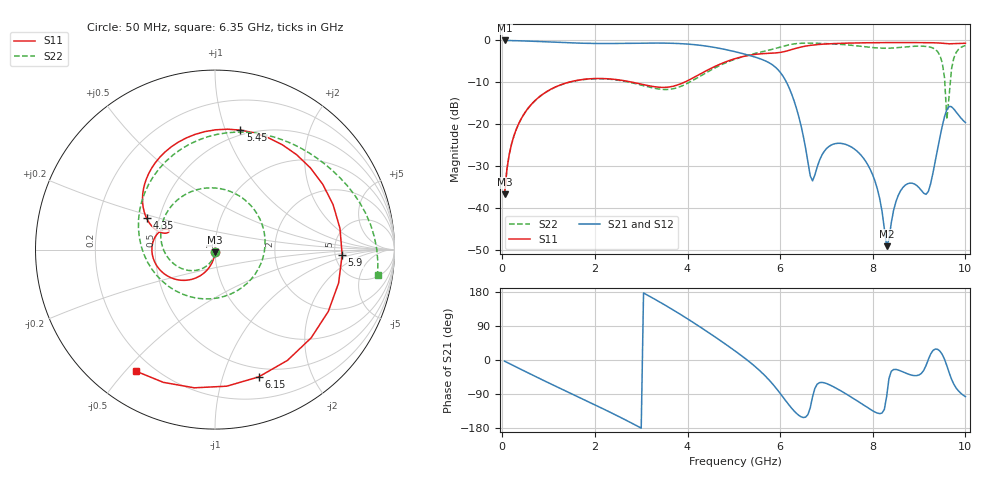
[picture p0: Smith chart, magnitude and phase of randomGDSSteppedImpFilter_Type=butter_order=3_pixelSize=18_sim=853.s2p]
! freq	dB(S11)	phase(S11)	dB(S12)	phase(S12)
!  dB(S21)	phase(S21)	dB(S22)	phase(S22)
!S-par simulation data
#  GHz  S  DB  R 50
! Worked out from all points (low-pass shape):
!   200 points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, 50 MHz to 10 GHz, reference 50 ohm
!   highest |S21| = 0.00 dB at 50 MHz (marker M1); lowest = -49.1 dB at 8.3 GHz (marker M2)
!   |S21| within 3 dB of the highest: start of sweep to 5.142 GHz
!   lowest |S11| = -36.7 dB at 50 MHz (marker M3), VSWR 1.03, Z = 49.9 - j1.46 ohm
!   |S11| at or under -10 dB: start of sweep to 1.429 GHz; 2.818 GHz to 3.928 GHz (1.11 GHz wide, 32.9 % of centre)
!   |S22| runs from -36.7 to -0.6 dB; largest |S21 - S12| = 0
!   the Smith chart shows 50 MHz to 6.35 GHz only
!   S11 on the Smith chart (normalised r, x): 50 MHz: 1.00, -0.03; 4.35 GHz: 0.43, +0.18; 5.45 GHz: 0.45, +1.13; 5.9 GHz: 5.80, -0.67; 6.15 GHz: 0.41, -1.32; 6.35 GHz: 0.14, -0.53
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0.05  -36.71 -92.2  -0.00 -3.1  -0.00 -3.1  -36.73 -93.5
0.5  -17.05 -114.5  -0.13 -30.5  -0.13 -30.5  -17.08 -127.5
1.75  -9.30 -168.1  -0.67 -103.9  -0.67 -103.9  -9.35 139.3
2.7  -9.74 162.5  -0.70 -160.6  -0.70 -160.6  -9.88 56.2
3.4  -11.18 157.6  -0.63 153.0  -0.63 153.0  -11.63 -31.3
4.35  -7.56 155.4  -1.27 80.9  -1.27 80.9  -8.02 -176.3
5.05  -4.28 117.0  -2.75 21.8  -2.75 21.8  -4.39 103.8
5.45  -3.34 78.0  -3.95 -16.3  -3.95 -16.3  -3.12 66.5
5.9  -2.99 -2.3  -6.41 -72.5  -6.41 -72.5  -1.90 29.9
6.15  -2.50 -71.1  -10.27 -112.2  -10.27 -112.2  -1.13 9.0
6.35  -1.85 -123.2  -16.14 -140.5  -16.14 -140.5  -0.75 -8.9
6.7  -1.11 175.2  -33.53 -96.9  -33.53 -96.9  -0.65 -39.4
7.5  -0.63 105.2  -25.22 -95.2  -25.22 -95.2  -1.11 -114.7
7.95  -0.55 79.5  -30.90 -130.5  -30.90 -130.5  -1.65 -176.0
8.3  -0.51 61.9  -49.12 -95.7  -49.12 -95.7  -1.86 122.8
8.35  -0.51 59.5  -47.50 -48.6  -47.50 -48.6  -1.85 113.7
8.6  -0.51 47.9  -35.90 -28.7  -35.90 -28.7  -1.66 70.3
9.05  -0.52 28.1  -35.83 -35.3  -35.83 -35.3  -1.36 6.9
9.45  -0.62 11.1  -23.12 23.5  -23.12 23.5  -3.58 -51.2
9.6  -0.78 5.5  -16.49 -15.3  -16.49 -15.3  -18.84 -62.8
9.75  -0.75 0.8  -16.38 -63.7  -16.38 -63.7  -4.20 12.5
10  -0.67 -8.8  -19.61 -96.7  -19.61 -96.7  -1.21 -24.0
